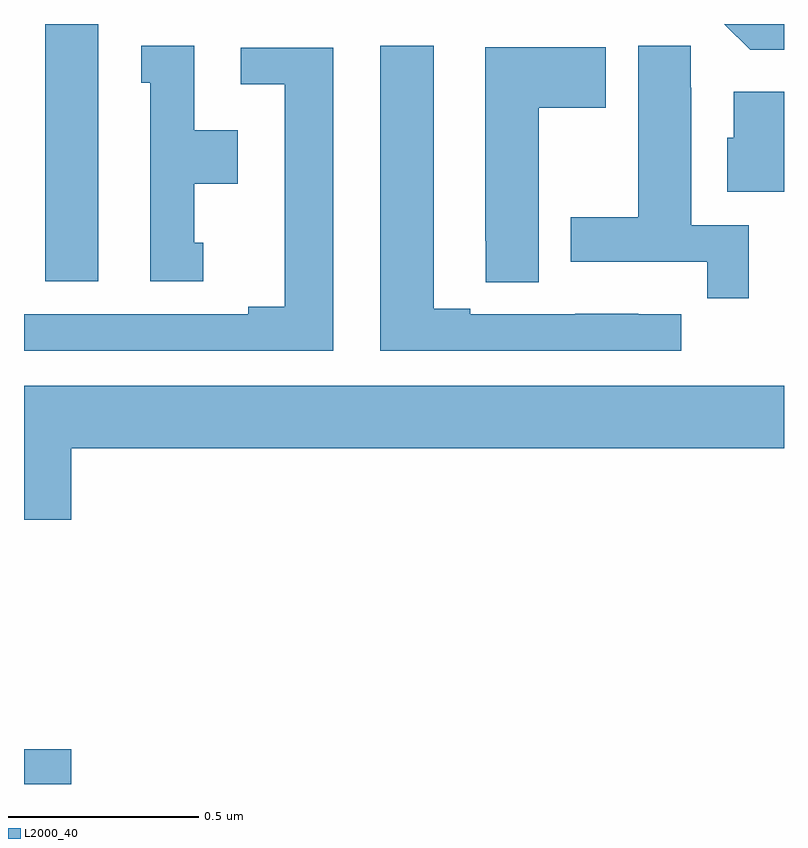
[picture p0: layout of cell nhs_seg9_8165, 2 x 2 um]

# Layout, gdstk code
import gdstk
lib = gdstk.Library(unit=1e-6, precision=1e-09)
def R(c, l, rs):  # rectangles x0, y0, x1, y1
    for r in rs: c.add(gdstk.rectangle(r[:2], r[2:], *l))
def P(c, l, *ps):  # polygons
    for p in ps: c.add(gdstk.Polygon(p, *l))
L2000_40 = (2000, 40)

nhs_seg9_8165 = lib.new_cell('nhs_seg9_8165')
R(nhs_seg9_8165, L2000_40, [(213,1231.5,213.124,1231.591), (213.056,1232.823,213.196,1233.5)])
P(nhs_seg9_8165, L2000_40, [(215,1233.5),(214.843,1233.5),(214.911,1233.432),(215,1233.432)],
  [(214.729,1232.736),(214.616,1232.736),(214.616,1232.737),(214.45,1232.737),(214.45,1232.736),(214.174,1232.736),(214.174,1232.751),(214.078,1232.751),(214.078,1233.443),(213.938,1233.443),(213.938,1232.64),(214.729,1232.64)],
  [(214.907,1232.97),(214.756,1232.97),(214.756,1233.332),(214.755,1233.332),(214.755,1233.443),(214.616,1233.443),(214.616,1232.991),(214.439,1232.991),(214.439,1232.874),(214.798,1232.874),(214.798,1232.778),(214.907,1232.778)],
  [(213.472,1232.925),(213.448,1232.925),(213.448,1233.08),(213.562,1233.08),(213.562,1233.22),(213.448,1233.22),(213.448,1233.443),(213.308,1233.443),(213.308,1233.345),(213.332,1233.345),(213.332,1232.823),(213.472,1232.823)],
  [(214.354,1233.28),(214.531,1233.28),(214.531,1233.439),(214.214,1233.439),(214.214,1232.929),(214.215,1232.929),(214.215,1232.821),(214.354,1232.821)],
  [(213.814,1233.438),(213.57,1233.438),(213.57,1233.342),(213.686,1233.342),(213.686,1232.756),(213.59,1232.756),(213.59,1232.736),(213,1232.736),(213,1232.64),(213.814,1232.64)],
  [(215,1233.322),(214.868,1233.322),(214.868,1233.201),(214.85,1233.201),(214.85,1233.059),(215,1233.059)],
  [(213.124,1232.384),(215,1232.384),(215,1232.548),(213,1232.548),(213,1232.196),(213.124,1232.196)])

lib.write_gds('nhs_seg9_8165.gds')
